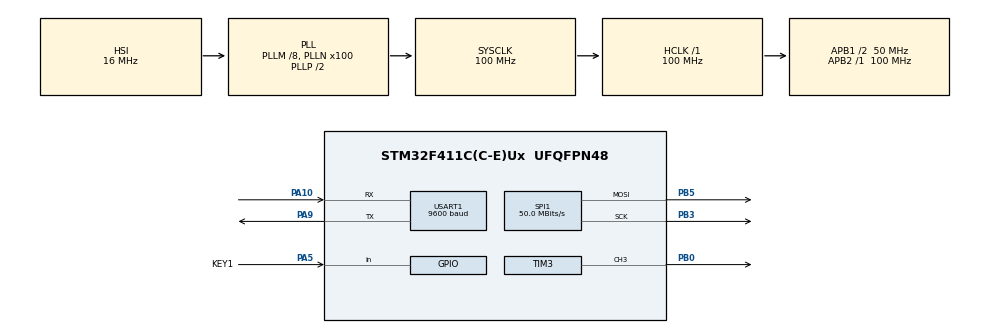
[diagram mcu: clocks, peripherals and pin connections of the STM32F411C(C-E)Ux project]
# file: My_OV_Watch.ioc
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ADC1.Channel-0\#ChannelRegularConversion=ADC_CHANNEL_1
ADC1.NbrOfConversionFlag=1
ADC1.Rank-0\#ChannelRegularConversion=1
ADC1.SamplingTime-0\#ChannelRegularConversion=ADC_SAMPLETIME_144CYCLES
ADC1.master=1
Dma.Request0=SPI1_TX
Dma.Request1=USART1_RX
Dma.Request2=USART1_TX
Dma.SPI1_TX.0.Direction=DMA_MEMORY_TO_PERIPH
Dma.SPI1_TX.0.FIFOMode=DMA_FIFOMODE_DISABLE
Dma.SPI1_TX.0.Instance=DMA2_Stream2
Dma.SPI1_TX.0.MemDataAlignment=DMA_MDATAALIGN_BYTE
Dma.SPI1_TX.0.MemInc=DMA_MINC_ENABLE
Dma.SPI1_TX.0.Mode=DMA_NORMAL
Dma.SPI1_TX.0.PeriphDataAlignment=DMA_PDATAALIGN_BYTE
Dma.SPI1_TX.0.PeriphInc=DMA_PINC_DISABLE
Dma.SPI1_TX.0.Priority=DMA_PRIORITY_LOW
Dma.USART1_RX.1.Direction=DMA_PERIPH_TO_MEMORY
Dma.USART1_RX.1.FIFOMode=DMA_FIFOMODE_DISABLE
Dma.USART1_RX.1.Instance=DMA2_Stream5
Dma.USART1_RX.1.MemDataAlignment=DMA_MDATAALIGN_BYTE
Dma.USART1_RX.1.MemInc=DMA_MINC_ENABLE
Dma.USART1_RX.1.Mode=DMA_NORMAL
Dma.USART1_RX.1.PeriphDataAlignment=DMA_PDATAALIGN_BYTE
Dma.USART1_RX.1.PeriphInc=DMA_PINC_DISABLE
Dma.USART1_RX.1.Priority=DMA_PRIORITY_LOW
Dma.USART1_TX.2.Direction=DMA_MEMORY_TO_PERIPH
Dma.USART1_TX.2.FIFOMode=DMA_FIFOMODE_DISABLE
Dma.USART1_TX.2.Instance=DMA2_Stream7
Dma.USART1_TX.2.MemDataAlignment=DMA_MDATAALIGN_BYTE
Dma.USART1_TX.2.MemInc=DMA_MINC_ENABLE
Dma.USART1_TX.2.Mode=DMA_NORMAL
Dma.USART1_TX.2.PeriphDataAlignment=DMA_PDATAALIGN_BYTE
Dma.USART1_TX.2.PeriphInc=DMA_PINC_DISABLE
Dma.USART1_TX.2.Priority=DMA_PRIORITY_LOW
Mcu.Family=STM32F4
Mcu.Name=STM32F411C(C-E)Ux
Mcu.Package=UFQFPN48
NVIC.DMA2_Stream2_IRQn=true\:0\:0\:false\:false\:true\:false\:true\:true
NVIC.DMA2_Stream5_IRQn=true\:0\:0\:false\:false\:true\:false\:true\:true
NVIC.DMA2_Stream7_IRQn=true\:0\:0\:false\:false\:true\:false\:true\:true
NVIC.PriorityGroup=NVIC_PRIORITYGROUP_4
NVIC.RTC_WKUP_IRQn=true\:0\:0\:false\:false\:true\:true\:true\:true
NVIC.USART1_IRQn=true\:0\:0\:false\:false\:true\:true\:true\:true
PA10.Mode=Asynchronous
PA10.Signal=USART1_RX
PA1.Signal=ADCx_IN1
PA13.Mode=Serial_Wire
PA13.Signal=SYS_JTMS-SWDIO
PA14.Mode=Serial_Wire
PA14.Signal=SYS_JTCK-SWCLK
PA5.GPIO_Label=KEY1
PA5.GPIO_PuPd=GPIO_PULLUP
PA5.Signal=GPIO_Input
PA9.Mode=Asynchronous
PA9.Signal=USART1_TX
PB0.Signal=S_TIM3_CH3
PB3.Mode=TX_Only_Simplex_Unidirect_Master
PB3.Signal=SPI1_SCK
PB5.Mode=TX_Only_Simplex_Unidirect_Master
PB5.Signal=SPI1_MOSI
PC14-OSC32_IN.Mode=LSE-External-Oscillator
PC14-OSC32_IN.Signal=RCC_OSC32_IN
PC15-OSC32_OUT.Mode=LSE-External-Oscillator
PC15-OSC32_OUT.Signal=RCC_OSC32_OUT
ProjectManager.HeapSize=0x200
ProjectManager.StackSize=0x2000
ProjectManager.TargetToolchain=MDK-ARM V5.32
RCC.48MHZClocksFreq_Value=50000000
RCC.AHBFreq_Value=100000000
RCC.APB1CLKDivider=RCC_HCLK_DIV2
RCC.APB1Freq_Value=50000000
RCC.APB1TimFreq_Value=100000000
RCC.APB2Freq_Value=100000000
RCC.APB2TimFreq_Value=100000000
RCC.CortexFreq_Value=100000000
RCC.HCLKFreq_Value=100000000
RCC.HSE_VALUE=25000000
RCC.HSI_VALUE=16000000
RCC.PLLM=8
RCC.PLLN=100
RCC.RCC_RTC_Clock_Source=RCC_RTCCLKSOURCE_LSE
RCC.SYSCLKFreq_VALUE=100000000
RCC.SYSCLKSource=RCC_SYSCLKSOURCE_PLLCLK
RCC.VCOOutputFreq_Value=200000000
RTC.WakeUpCounter=2048
SH.S_TIM3_CH3.0=TIM3_CH3,PWM Generation3 CH3
SPI1.CLKPhase=SPI_PHASE_2EDGE
SPI1.CLKPolarity=SPI_POLARITY_HIGH
SPI1.CalculateBaudRate=50.0 MBits/s
SPI1.Direction=SPI_DIRECTION_2LINES
SPI1.Mode=SPI_MODE_MASTER
SPI1.VirtualType=VM_MASTER
TIM3.Channel-PWM\ Generation3\ CH3=TIM_CHANNEL_3
TIM3.Period=300
TIM3.Prescaler=99
USART1.BaudRate=9600
USART1.VirtualMode=VM_ASYNC
VP_RTC_VS_RTC_Activate.Mode=RTC_Enabled
VP_RTC_VS_RTC_WakeUp_intern.Mode=WakeUp
board=custom

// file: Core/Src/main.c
/* USER CODE BEGIN Header */
/**
  ******************************************************************************
  * @file           : main.c
  * @brief          : Main program body
  ******************************************************************************
  * @attention
  *
  * Copyright (c) 2026 STMicroelectronics.
  * All rights reserved.
  *
  * This software is licensed under terms that can be found in the LICENSE file
  * in the root directory of this software component.
  * If no LICENSE file comes with this software, it is provided AS-IS.
  *
  ******************************************************************************
  */
/* USER CODE END Header */
#include "main.h"
#include "adc.h"
#include "dma.h"
#include "rtc.h"
#include "spi.h"
#include "tim.h"
#include "usart.h"
#include "gpio.h"

/* USER CODE BEGIN Includes */
#include "lcd.h"
#include "lcd_init.h"
#include "delay.h"
#include "lcd_fps_test.h"
#include "lvgl.h"
#include "lv_port_disp.h"
#include "soft_timer.h"
#include "stdio.h"
#include "lv_port_indev.h"
#include "CST816.h"
#include "app_ui.h"
#include "key.h"
#include "device_manager.h"
#include "power_manager.h"
#include "battery_manager.h"
#include "ble_manager.h"
#include "notification_manager.h"
/* USER CODE END Includes */

/* USER CODE BEGIN PV */
extern volatile LCD_FPS_Result_t g_lcd_fps_result;
/* USER CODE END PV */

void SystemClock_Config(void);

/* USER CODE BEGIN 0 */
void lv_flush_proc(void);
/* USER CODE END 0 */

int main(void)
{

  /* MCU Configuration--------------------------------------------------------*/

  /* Reset of all peripherals, Initializes the Flash interface and the Systick. */
  HAL_Init();

  /* Configure the system clock */
  SystemClock_Config();

  /* Initialize all configured peripherals */
  MX_GPIO_Init();
  MX_DMA_Init();
  MX_SPI1_Init();
  MX_TIM3_Init();
  MX_USART1_UART_Init();
  MX_RTC_Init();
  MX_ADC1_Init();
  /* USER CODE BEGIN 2 */
	/* 触摸使用软件 I2C，先准备 GPIO，再硬复位控制器清除上电残留状态。 */
	CST816_GPIO_Init();
	CST816_RESET();
	/* 旧毫秒软件定时器为 LVGL handler 提供下一次运行调度。 */
	softTimer_init();
	/* 初始化 ST7789，并在 LVGL 接管屏幕前清成确定的黑色。 */
	LCD_Init();
	LCD_Fill(0U, 0U, LCD_W, LCD_H, BLACK);

	/* LVGL 核心必须先初始化，再注册显示和触摸端口。 */
	lv_init();
	lv_port_disp_init();
	lv_port_indev_init();

	/* 业务模块先于 UI 初始化，确保首个表盘能立即取得有效缓存和设置。 */
	NotificationManager_Init();
	DeviceManager_Init();
	BatteryManager_Init();
	BLEManager_Init();
	PowerManager_Init();
	Key_Init();
	/* AppUI_Init 创建第一个表盘和状态栏，是界面对象树的起点。 */
	AppUI_Init();

	/* 主动启动 LVGL 第一次 handler，之后由软件定时器节拍推进。 */
	lv_flush_start();
  /* USER CODE END 2 */

  /* Infinite loop */
  /* USER CODE BEGIN WHILE */
  while (1)
  {
		/* STOP 时 SPI/LCD 已关闭，禁止服务显示 DMA 和 LVGL 刷新。 */
		if(AppUI_IsStop() == 0U) {
			LCD_Service();
			lv_flush_proc();
		}
    /* 各 Manager 都是合作式状态机：每轮快速检查 deadline，禁止长阻塞。 */
    DeviceManager_Process();
    if(AppUI_IsStop() == 0U) BatteryManager_Process();
    /* BLE 在主循环解析 ISR 放入环形队列的数据，避免中断中执行协议逻辑。 */
    BLEManager_Process();
    /* 扫描消抖后取出一次性按键事件，再交给 UI 解释其页面语义。 */
    Key_Proc();
    if(Key_GetEvent() == KEY_EVENT_KEY1_PRESSED) {
        AppUI_HandleKey1();
    }
    /* 最后推进页面切换和低功耗状态，确保本轮设备/输入事件都已产生。 */
    AppUI_Process();
    /* USER CODE END WHILE */

  }
}

void SystemClock_Config(void)
{
  RCC_OscInitTypeDef RCC_OscInitStruct = {0};
  RCC_ClkInitTypeDef RCC_ClkInitStruct = {0};

  /** Configure the main internal regulator output voltage
  */
  __HAL_RCC_PWR_CLK_ENABLE();
  __HAL_PWR_VOLTAGESCALING_CONFIG(PWR_REGULATOR_VOLTAGE_SCALE1);

  /** Initializes the RCC Oscillators according to the specified parameters
  * in the RCC_OscInitTypeDef structure.
  */
  RCC_OscInitStruct.OscillatorType = RCC_OSCILLATORTYPE_HSI|RCC_OSCILLATORTYPE_LSE;
  RCC_OscInitStruct.LSEState = RCC_LSE_ON;
  RCC_OscInitStruct.HSIState = RCC_HSI_ON;
  RCC_OscInitStruct.HSICalibrationValue = RCC_HSICALIBRATION_DEFAULT;
  RCC_OscInitStruct.PLL.PLLState = RCC_PLL_ON;
  RCC_OscInitStruct.PLL.PLLSource = RCC_PLLSOURCE_HSI;
  RCC_OscInitStruct.PLL.PLLM = 8;
  RCC_OscInitStruct.PLL.PLLN = 100;
  RCC_OscInitStruct.PLL.PLLP = RCC_PLLP_DIV2;
  RCC_OscInitStruct.PLL.PLLQ = 4;
  if (HAL_RCC_OscConfig(&RCC_OscInitStruct) != HAL_OK)
  {
    Error_Handler();
  }

  /** Initializes the CPU, AHB and APB buses clocks
  */
  RCC_ClkInitStruct.ClockType = RCC_CLOCKTYPE_HCLK|RCC_CLOCKTYPE_SYSCLK
                              |RCC_CLOCKTYPE_PCLK1|RCC_CLOCKTYPE_PCLK2;
  RCC_ClkInitStruct.SYSCLKSource = RCC_SYSCLKSOURCE_PLLCLK;
  RCC_ClkInitStruct.AHBCLKDivider = RCC_SYSCLK_DIV1;
  RCC_ClkInitStruct.APB1CLKDivider = RCC_HCLK_DIV2;
  RCC_ClkInitStruct.APB2CLKDivider = RCC_HCLK_DIV1;

  if (HAL_RCC_ClockConfig(&RCC_ClkInitStruct, FLASH_LATENCY_3) != HAL_OK)
  {
    Error_Handler();
  }
}

/* USER CODE BEGIN 4 */

void FatalDiagnostic_Blink(uint8_t code)
{
  volatile uint32_t delay;
  uint8_t pulse;

  /* 不依赖 HAL、时钟中断或 TIM3：即使初始化早期失败也能用背光报码。 */
  __disable_irq();
  RCC->AHB1ENR |= RCC_AHB1ENR_GPIOBEN;
  (void)RCC->AHB1ENR;
  GPIOB->MODER = (GPIOB->MODER & ~(3UL << 0U)) | (1UL << 0U);
  GPIOB->OTYPER &= ~GPIO_PIN_0;

  for(;;) {
    for(delay = 0U; delay < 1200000UL; ++delay) { __NOP(); }
    for(pulse = 0U; pulse < code; ++pulse) {
      GPIOB->BSRR = GPIO_PIN_0;
      for(delay = 0U; delay < 1200000UL; ++delay) { __NOP(); }
      GPIOB->BSRR = (uint32_t)GPIO_PIN_0 << 16U;
      for(delay = 0U; delay < 1200000UL; ++delay) { __NOP(); }
    }
  }
}

/* USER CODE END 4 */

void Error_Handler(void)
{
  /* USER CODE BEGIN Error_Handler_Debug */
  /* 7 次慢闪表示应用初始化调用了 Error_Handler。 */
  FatalDiagnostic_Blink(7U);
  /* USER CODE END Error_Handler_Debug */
}
